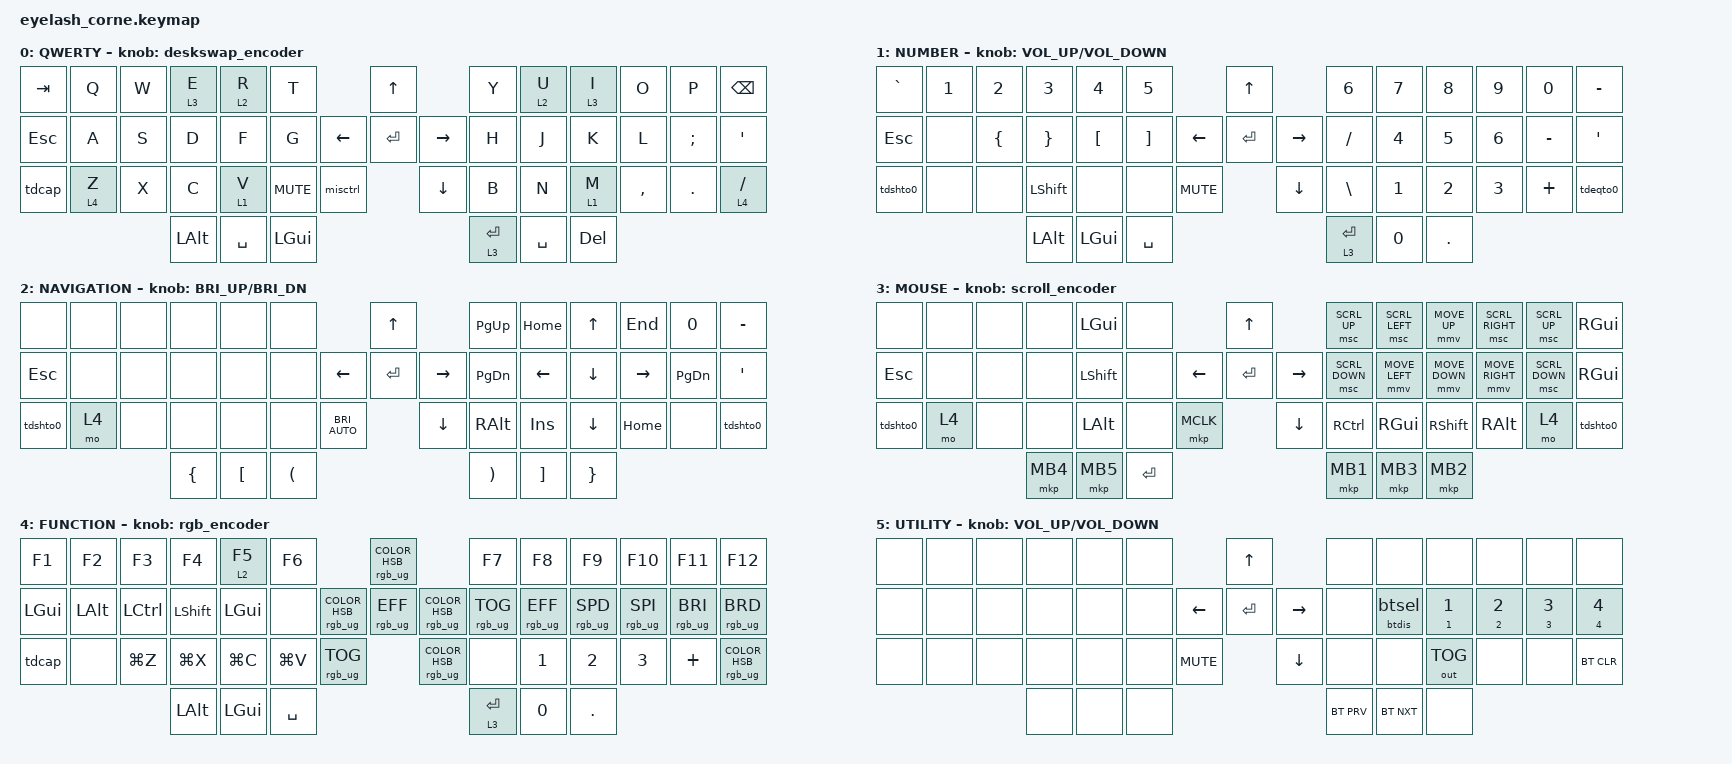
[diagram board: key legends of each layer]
#define ZMK_POINTING_DEFAULT_MOVE_VAL 1200  // 600
#define ZMK_POINTING_DEFAULT_SCRL_VAL 25   // 10

#include <input/processors.dtsi>
#include <zephyr/dt-bindings/input/input-event-codes.h>
#include <behaviors.dtsi>
#include <dt-bindings/zmk/bt.h>
#include <dt-bindings/zmk/keys.h>
#include <dt-bindings/zmk/outputs.h>
#include <dt-bindings/zmk/pointing.h>
#include <dt-bindings/zmk/rgb.h>

&mmv_input_listener { input-processors = <&zip_xy_scaler 2 1>; };

&msc_input_listener { input-processors = <&zip_scroll_scaler 2 1>; };

&msc {
    acceleration-exponent = <1>;      // 0
    time-to-max-speed-ms = <100>;       // 300
    delay-ms = <0>;                   // 0
};

&mmv {
    time-to-max-speed-ms = <500>;
    acceleration-exponent = <1>;
    trigger-period-ms = <16>;
};

/ {
    behaviors {
        ht: hold_tap {
            compatible = "zmk,behavior-hold-tap";
            #binding-cells = <2>;
            flavor = "tap-preferred";
            tapping-term-ms = <200>;
            quick-tap-ms = <120>;
            require-prior-idle-ms = <100>;
            bindings = <&kp>, <&kp>;
        };
        btht: bluetooth_hold_tap {
            compatible = "zmk,behavior-hold-tap";
            #binding-cells = <2>;
            flavor = "tap-preferred";
            tapping-term-ms = <2000>;
            require-prior-idle-ms = <100>;
            bindings = <&btdis>, <&btsel>;
        };
        tdcap: tdcap {
            compatible = "zmk,behavior-tap-dance";
            display-name = "TD Shift/CapsWord";
            #binding-cells = <0>;
            bindings = <&kp LEFT_SHIFT>, <&caps_word>;
        };
        tdshto0: tdshto0 {
            compatible = "zmk,behavior-tap-dance";
            display-name = "TD Shift/L0";
            #binding-cells = <0>;
            bindings = <&kp LEFT_SHIFT>, <&to 0>;
        };
        tdeqto0: tdeqto0 {
            compatible = "zmk,behavior-tap-dance";
            display-name = "TD =/L0";
            #binding-cells = <0>;
            bindings = <&kp EQUAL>, <&to 0>;
        };
    };

    rgb_encoder: rgb_encoder {
        compatible = "zmk,behavior-sensor-rotate";
        #sensor-binding-cells = <0>;
        bindings = <&rgb_ug RGB_BRI>, <&rgb_ug RGB_BRD>;
    };

    scroll_encoder: scroll_encoder {
        compatible = "zmk,behavior-sensor-rotate";
        #sensor-binding-cells = <0>;
        bindings = <&msc SCRL_DOWN>, <&msc SCRL_UP>;

        tap-ms = <100>;
    };

    deskswap_encoder: deskswap_encoder {
        compatible = "zmk,behavior-sensor-rotate";
        #sensor-binding-cells = <0>;
        bindings = <&swdeskr>, <&swdeskl>;

        tap-ms = <100>;
    };

    macros {
        btsel: bluetooth_select {
            compatible = "zmk,behavior-macro-one-param";
            #binding-cells = <1>;
            bindings
                = <&macro_param_1to2>
                , <&macro_tap &bt BT_SEL MACRO_PLACEHOLDER>
                , <&macro_tap &out OUT_BLE>
                ;
        };

        btdis: bluetooth_disconnect {
            compatible = "zmk,behavior-macro-one-param";
            #binding-cells = <1>;
            bindings
                = <&macro_param_1to2>
                , <&macro_tap &bt BT_DISC MACRO_PLACEHOLDER>
                ;
        };

        swdeskl: swap_desktop_left {
            compatible = "zmk,behavior-macro";
            #binding-cells = <0>;
            bindings
                = <&macro_press &kp LCTRL>
                , <&macro_tap &kp LEFT>
                , <&macro_release &kp LCTRL>
                ;
        };
        
        swdeskr: swap_desktop_right {
            compatible = "zmk,behavior-macro";
            #binding-cells = <0>;
            bindings
                = <&macro_press &kp LCTRL>
                , <&macro_tap &kp RIGHT>
                , <&macro_release &kp LCTRL>
                ;
        };
        
        misctrl: mission_control {
            compatible = "zmk,behavior-macro";
            #binding-cells = <0>;
            bindings
                = <&macro_press &kp LCTRL>
                , <&macro_tap &kp UP>
                , <&macro_release &kp LCTRL>
                ;
        };
        
        scrshtc: screenshot_selection_clipboard {
            compatible = "zmk,behavior-macro";
            #binding-cells = <0>;
            bindings
                = <&macro_press &kp LCMD>
                , <&macro_press &kp LCTRL>
                , <&macro_press &kp LSHIFT>
                , <&macro_tap &kp N4>
                , <&macro_release &kp LCMD>
                , <&macro_release &kp LCTRL>
                , <&macro_release &kp LSHIFT>
                ;
        };
        
        scrshtf: screenshot_selection_save {
            compatible = "zmk,behavior-macro";
            #binding-cells = <0>;
            bindings
                = <&macro_press &kp LCMD>
                , <&macro_press &kp LCTRL>
                , <&macro_press &kp LSHIFT>
                , <&macro_tap &kp N4>
                , <&macro_release &kp LCMD>
                , <&macro_release &kp LCTRL>
                , <&macro_release &kp LSHIFT>
                ;
        };
    };
    combos {
        compatible = "zmk,combos";
        combo_scrshtc {
            timeout-ms = <30>;
            key-positions = <1 2>;
            bindings = <&scrshtc>;
        };
        combo_scrshtf {
            timeout-ms = <30>;
            key-positions = <1 3>;
            bindings = <&scrshtf>;
        };
        combo_numlock_on {
            timeout-ms = <30>;
            key-positions = <23 25>;
            layers = <0 2 3>;
            bindings = <&to 1>;
        };
        combo_numlock_off {
            timeout-ms = <30>;
            key-positions = <23 25>;
            layers = <1>;
            bindings = <&to 0>;
        };
        combo_navlock_on {
            timeout-ms = <30>;
            key-positions = <36 38>;
            layers = <0 1 3>;
            bindings = <&to 2>;
        };
        combo_navlock_off {
            timeout-ms = <30>;
            key-positions = <36 38>;
            layers = <2>;
            bindings = <&to 0>;
        };
        combo_mouselock_on {
            timeout-ms = <30>;
            key-positions = <37 39>;
            layers = <0 1 2>;
            bindings = <&to 3>;
        };
        combo_mouselock_off {
            timeout-ms = <30>;
            key-positions = <37 39>;
            layers = <3>;
            bindings = <&to 0>;
        };
    };

    conditional_layers {
        compatible = "zmk,conditional-layers";
        util_layer {
            if-layers = <2 4>;
            then-layer = <5>;
        };
    };

    keymap {
        compatible = "zmk,keymap";

        default_layer {
            display-name = "QWERTY";
            bindings = <
        //╭──────────┬──────────┬──────────┬──────────┬──────────┬──────────╮                    ╭─────────╮           ╭──────────┬──────────┬──────────┬──────────┬──────────┬──────────╮
        //│  TAB     |  Q       │  W       │E+MOUSLAYR│R+NAVLAYER│  T       │                    | NUB UP  |           │  Y       │  U       │  I       │  O       │  P       │  BSPC    |
            &kp TAB    &kp Q      &kp W      &lt 3 E    &lt 2 R    &kp T                           &kp UP                &kp Y      &lt 2 U    &lt 3 I    &kp O      &kp P      &kp BSPC
        //├──────────┼──────────┼──────────┼──────────┼──────────┤──────────┤           ╭────────┬──────────┬─────────╮├──────────┼──────────┼──────────┼──────────┼──────────┤──────────┤
        //│  ESC     │  A       │  S       │  D       │  F       │  G       |           |NUB LEFT|NUB CLICK |NUB RIGHT|│  H       │  J       │  K       │  L       │  ; :     │  ' "     |            
            &kp ESC    &kp A      &kp S      &kp D      &kp F      &kp G                 &kp LEFT &kp ENTER  &kp RIGHT   &kp H      &kp J      &kp K      &kp L      &kp SEMI   &kp SQT
        //├──────────┼──────────┼──────────┼──────────┼──────────┤──────────┤╭─────────╮         ╭─────────╮           ├──────────┼──────────┼──────────┼──────────┼──────────┤──────────┤
        //│SHFT+CAPWD│Z+FUNLAYER│  X       │   C      │C+NUMLAYER│  MUTE    || ROLLER  |         |NUB DOWN |           │  B       │  N       │  M       │  , <     │  . >     │  / ?     |
            &tdcap     &lt 4 Z    &kp X      &kp C      &lt 1 V   &kp C_MUTE   &misctrl           &kp DOWN               &kp B      &kp N      &lt 1 M     &kp COMMA  &kp DOT   &lt 4 FSLH
        //├──────────┼──────────┼──────────┼──────────┼──────────┤──────────┤                                          ├──────────┼──────────┼──────────┼──────────┼──────────┤──────────┤
        //                                 │  ALT     │  SPACE   │KELTICKNOT|                                          │  ENTER   │  SPACE   │  DELETE  │ 
                                             &kp LALT   &kp SPACE  &kp LGUI                                           &lt 3 ENTER  &kp SPACE  &kp DEL
            >;
            sensor-bindings = <&deskswap_encoder>;
        };

        num_layer {
            display-name = "NUMBER";
            bindings = <
        //╭──────────┬──────────┬──────────┬──────────┬──────────┬──────────╮                    ╭─────────╮           ╭──────────┬──────────┬──────────┬──────────┬──────────┬──────────╮
        //│  ` ~     |  1 !     │  2 @     │  3 #     │  4 $     │  5 %     │                    | NUB UP  |           │  6 ^     │  7 &     │  8 *     │  9 (     │  0 )     │  - _     |
           &kp GRAVE   &kp N1     &kp N2     &kp N3     &kp N4     &kp N5                          &kp UP                &kp N6     &kp N7     &kp N8     &kp N9     &kp N0     &kp MINUS
        //├──────────┼──────────┼──────────┼──────────┼──────────┤──────────┤           ╭────────┬──────────┬─────────╮├──────────┼──────────┼──────────┼──────────┼──────────┤──────────┤
        //│  ESC     │          │  {       │  }       │  [       │  ]       |           |NUB LEFT|NUB CLICK |NUB RIGHT|│  / ?     │  4 $     │  5 %     │  6 ^     │  - _     │  ' "     |
            &kp ESC    &none      &kp LBRC   &kp RBRC   &kp LBKT   &kp RBKT              &kp LEFT &kp ENTER  &kp RIGHT   &kp FSLH   &kp N4     &kp N5     &kp N6     &kp MINUS  &kp SQT
        //├──────────┼──────────┼──────────┼──────────┼──────────┤──────────┤╭─────────╮         ╭─────────╮           ├──────────┼──────────┼──────────┼──────────┼──────────┤──────────┤
        //│ SHIFT+L0 │          │          │ SHIFT    │THIS LAYER│          || ROLLER  |         |NUB DOWN |           │  \ |     │  1 !     │  2 @     │  3 #     │  +       │  = +     |
           &tdshto0    &none      &none     &kp LSHIFT  &none      &none      &kp C_MUTE          &kp DOWN               &kp BSLH   &kp N1     &kp N2     &kp N3     &kp PLUS   &tdeqto0
        //├──────────┼──────────┼──────────┼──────────┼──────────┤──────────┤                                          ├──────────┼──────────┼──────────┼──────────┼──────────┤──────────┤
        //                                 │  ALT     │KELTICKNOT│ SPACE    |                                          │  ENTER   │  0       │  DOT      │ 
                                             &kp LALT  &kp LGUI  &kp SPACE                                             &lt 3 ENTER  &kp N0     &kp DOT
            >;
            sensor-bindings = <&inc_dec_kp C_VOLUME_UP C_VOLUME_DOWN>;
        };

        nav_layer {
            display-name = "NAVIGATION";
            bindings = <
        //╭──────────┬──────────┬──────────┬──────────┬──────────┬──────────╮                    ╭─────────╮           ╭──────────┬──────────┬──────────┬──────────┬──────────┬──────────╮
        //│          |          │          │          │THIS LAYER│          │                    | NUB UP  |           │ PAGE UP  │  HOME    │  UP      │  END     │  0       │  - _     |
            &none      &none      &none      &none      &none      &none                           &kp UP               &kp PG_UP   &kp HOME   &kp UP     &kp END    &kp N0     &kp MINUS
        //├──────────┼──────────┼──────────┼──────────┼──────────┤──────────┤           ╭────────┬──────────┬─────────╮├──────────┼──────────┼──────────┼──────────┼──────────┤──────────┤
        //│  ESC     │          │          │          │          │          |           |NUB LEFT|NUB CLICK |NUB RIGHT|│PAGE DOWN │  LEFT    │  DOWN    │  RIGHT   │PAGE DOWN │  ' "     |
            &kp ESC    &none      &none      &none      &none      &none                 &kp LEFT &kp ENTER  &kp RIGHT  &kp PG_DN   &kp LEFT   &kp DOWN   &kp RIGHT  &kp PG_DN  &kp SQT
        //├──────────┼──────────┼──────────┼──────────┼──────────┤──────────┤╭─────────╮         ╭─────────╮           ├──────────┼──────────┼──────────┼──────────┼──────────┤──────────┤
        //│ SHIFT+L0 │FUN LAYER │          │          │          │          || ROLLER  |         |NUB DOWN |           │  ALT     │  INSERT  │  DOWN    │  HOME    │          │ SHIFT+L0 |
           &tdshto0    &mo 4      &none      &none      &none      &none      &kp C_BRI_AUTO      &kp DOWN               &kp RALT   &kp INS    &kp DOWN   &kp HOME   &none      &tdshto0
        //├──────────┼──────────┼──────────┼──────────┼──────────┤──────────┤                                          ├──────────┼──────────┼──────────┼──────────┼──────────┤──────────┤
        //                                 │  {       │  [       │ (        |                                          │  )       │  ]       │  }       │ 
                                             &kp LBRC  &kp LBKT   &kp LPAR                                              &kp RPAR    &kp RBKT   &kp RBRC
            >;
            sensor-bindings = <&inc_dec_kp C_BRI_UP C_BRI_DN>;
        };

        mouse_layer {
            display-name = "MOUSE";
            bindings = <
        //╭──────────┬──────────┬──────────┬──────────┬──────────┬──────────╮                    ╭─────────╮           ╭───────────────┬───────────────┬───────────────┬───────────────┬───────────────┬───────────────╮
        //│          |          │          │THIS LAYER│KELTICKNOT│          │                    | NUB UP  |           │               │               │               │               │               │ KELTIC KNOT   |
           &none       &none      &none      &none     &kp LGUI    &none                           &kp UP               &msc SCRL_UP    &msc SCRL_LEFT  &mmv MOVE_UP    &msc SCRL_RIGHT  &msc SCRL_UP    &kp RGUI
        //├──────────┼──────────┼──────────┼──────────┼──────────┤──────────┤           ╭────────┬──────────┬─────────╮├───────────────┼───────────────┼───────────────┼───────────────┼───────────────┤───────────────┤
        //│  ESC     │          │          │          │          │          |           |NUB LEFT|NUB CLICK |NUB RIGHT|│               │               │               │               │               │FORMERLY PRINCE|
            &kp ESC    &none      &none      &none     &kp LSHIFT  &none                 &kp LEFT &kp ENTER  &kp RIGHT  &msc SCRL_DOWN  &mmv MOVE_LEFT  &mmv MOVE_DOWN  &mmv MOVE_RIGHT  &msc SCRL_DOWN  &kp RGUI
        //├──────────┼──────────┼──────────┼──────────┼──────────┤──────────┤╭─────────╮         ╭─────────╮           ├───────────────┼───────────────┼───────────────┼───────────────┼───────────────┤───────────────┤
        //│ SHIFT+L0 │FUN LAYER │          │          │          │          || ROLLER  |         |NUB DOWN |           │    CONTROL    │KNOT FKA PRINCE│  Shift        │  Alt          │  FUN LAYER    │ SHIFT + L0
           &tdshto0   &mo 4      &none      &none     &kp LALT    &none      &mkp MCLK           &kp DOWN               &kp RCTRL        &kp RGUI       &kp RSHFT       &kp RALT          &mo 4          &tdshto0
        //├──────────┼──────────┼──────────┼──────────┼──────────┤──────────┤                                          ├───────────────┼───────────────┼───────────────┼───────────────┼───────────────┤───────────────┤
        //                                 │ MOUSE 4  │ MOUSE 5  │ ENTER    |                                          │ MOUSE 1       │ MOUSE 3       │ MOUSE 2       │ 
                                            &mkp MB4   &mkp MB5   &kp ENTER                                              &mkp MB1        &mkp MB3        &mkp MB2
            >;

            sensor-bindings = <&scroll_encoder>;
        };

        fun_layer {
            display-name = "FUNCTION";
            bindings = <
        //╭──────────┬──────────┬──────────┬──────────┬──────────┬──────────╮                                     ╭────────────────────────────────────╮                           ╭───────────────┬───────────────┬───────────────┬───────────────┬───────────────┬───────────────╮
        //│          |          │          │          │NAV LAYER │          │                                     |              NUB UP                |                           │               │               │               │               │               │               |
            &kp F1     &kp F2     &kp F3     &kp F4     &lt 2 F5   &kp F6                                           &rgb_ug RGB_COLOR_HSB(60,100,100)                                   &kp F7           &kp F8          &kp F9          &kp F10         &kp F11         &kp F12
        //├──────────┼──────────┼──────────┼──────────┼──────────┤──────────┤            ╭───────────────────────────────────┬───────────────┬────────────────────────────────────╮├───────────────┼───────────────┼───────────────┼───────────────┼───────────────┤───────────────┤
        //│          │          │          │          │          │          |            |NUB LEFT                           |   NUB CLICK   |            NUB RIGHT               |│               │               │               │               │               │               |
            &kp LGUI   &kp LALT   &kp LCTRL  &kp LSHFT  &kp LGUI   &none                  &rgb_ug RGB_COLOR_HSB(128,100,100)  &rgb_ug RGB_EFF  &rgb_ug RGB_COLOR_HSB(333,100,100)   &rgb_ug RGB_TOG &rgb_ug RGB_EFF &rgb_ug RGB_SPD &rgb_ug RGB_SPI &rgb_ug RGB_BRI &rgb_ug RGB_BRD
        //├──────────┼──────────┼──────────┼──────────┼──────────┤──────────┤╭─────────╮                          ╭────────────────────────────────────╮                           ├───────────────┼───────────────┼───────────────┼───────────────┼───────────────┤───────────────┤
        //│SHFT+CAPWD│THIS LAYER│ UNDO     │  CUT     │  COPY    │  PASTE   || ROLLER  |                          |            NUB DOWN                |                           │               │               │               │               │               │               |
            &tdcap      &none    &kp LG(Z)  &kp LG(X)  &kp LG(C)   &kp LG(V)  &rgb_ug RGB_TOG                       &rgb_ug RGB_COLOR_HSB(250,100,100)                                  &none           &kp N1          &kp N2          &kp N3          &kp PLUS        &rgb_ug RGB_COLOR_HSB(333,50,100)
        //├──────────┼──────────┼──────────┼──────────┼──────────┤──────────┤                                                                                                      ├───────────────┼───────────────┼───────────────┼───────────────┼───────────────┤───────────────┤
        //                                 │  ALT     │KELTICKNOT│ SPACE    |                                                                                                      │  ENTER        │  0            │  DOT          │ 
                                             &kp LALT  &kp LGUI  &kp SPACE                                                                                                            &lt 3 ENTER     &kp N0          &kp DOT
            >;

            sensor-bindings = <&rgb_encoder>;
        };

        util_layer {
            display-name = "UTILITY";
            bindings = <
        //╭──────────┬──────────┬──────────┬──────────┬──────────┬──────────╮                    ╭─────────╮           ╭──────────┬──────────────┬──────────────┬──────────────┬──────────────┬──────────────╮
        //│          │          │          │          │This Layer│          │                    | NUB UP  |                      │              │              │              │              │              │
           &none        &none      &none       &none       &none     &none                         &kp UP                  &none      &none        &none          &none           &none         &none
        //├──────────┼──────────┼──────────┼──────────┼──────────┼──────────┤           ╭────────┬──────────┬─────────╮├──────────┼──────────────┼──────────────┼──────────────┼──────────────┼──────────────┤
        //│          │          │          │          │          │          │           |NUB LEFT|NUB CLICK |NUB RIGHT|           │ Hunter Work  │ Britt Work   │              │ Tiny Lappy   │              │
           &none        &none      &none       &none       &none     &none               &kp LEFT &kp ENTER  &kp RIGHT     &none      &btht 0 0    &btht 1 1      &btht 2 2      &btht 3 3      &btht 4 4
        //├──────────┼──────────┼──────────┼──────────┼──────────┼──────────┤╭─────────╮         ╭─────────╮           ├──────────┼──────────────┼──────────────┼──────────────┼──────────────┼──────────────┤
        //│          │This Layer│          │          │          │          │| ROLLER  |         |NUB DOWN |                      │              │ USB/BLE      │              │              │Clear Profile │
           &none        &none      &none       &none       &none     &none    &kp C_MUTE          &kp DOWN                 &none      &none        &out OUT_TOG    &none           &none        &bt BT_CLR
        //╰──────────┴──────────┴──────────┴──────────┼──────────┼──────────┤                                          ├──────────┼──────────────┼──────────────┼──────────────┴──────────────┴──────────────╯
                                               &none       &none     &none                                              &bt BT_PRV &bt BT_NXT  &none
        //                                 ╰──────────┴──────────┴──────────╯                                          ╰──────────┴──────────┴──────────╯
            >;

            sensor-bindings = <&inc_dec_kp C_VOLUME_UP C_VOLUME_DOWN>;
        };
    };
};
